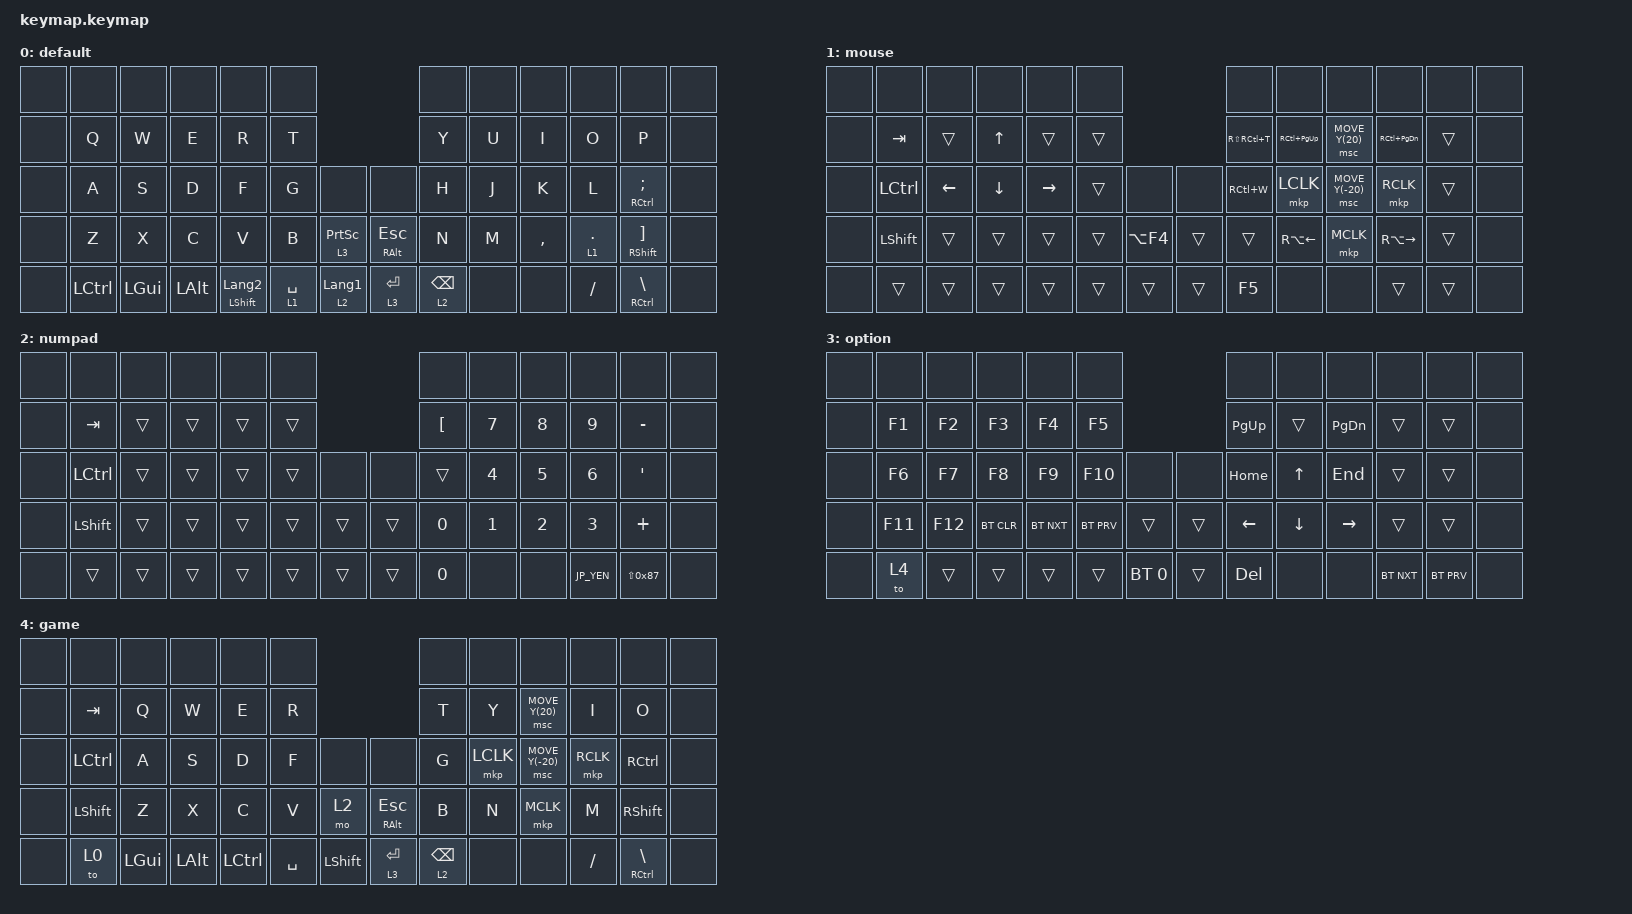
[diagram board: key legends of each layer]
#include <behaviors.dtsi>
#include <dt-bindings/zmk/bt.h>
#include <dt-bindings/zmk/keys.h>
#include <dt-bindings/zmk/outputs.h>
#include <dt-bindings/zmk/pointing.h>

// OS設定を日本語キーボードのまま使用するための変換定義

#define JP_DQUOTE       AT                // "
#define JP_AMPERSAND    CARET             // &
#define JP_QUOTE        AMPERSAND         // '
#define JP_EQUAL        UNDER             // =
#define JP_CARET        EQUAL             // ^
#define JP_YEN          0x89              // ¥
#define JP_PLUS         COLON             // +
#define JP_TILDE        PLUS              // ~
#define JP_PIPE         LS(0x89)          // |
#define JP_AT           LEFT_BRACKET      // @
#define JP_COLON        SINGLE_QUOTE      // :
#define JP_ASTERISK     DOUBLE_QUOTES     // *
#define JP_BACKQUOTE    LEFT_BRACE        // `
#define JP_UNDERSCORE   LS(0x87)          // _
#define JP_LBRACKET     RIGHT_BRACKET     // [
#define JP_RBRACKET     BACKSLASH         // ]
#define JP_LPAREN       ASTERISK          // (
#define JP_RPAREN       LEFT_PARENTHESIS  // )
#define JP_LBRACE       RIGHT_BRACE       // {
#define JP_RBRACE       PIPE              // }
#define JP_KANA         LANGUAGE_1        // かな
#define JP_EISU         LANGUAGE_2        // 英数
#define JP_HANZEN       GRAVE             // 半角/全角

/ {
    combos {
        compatible = "zmk,combos";

        bt_clear {
            bindings = <&bt BT_CLR>;
            key-positions = <28 29>;
            layers = <3>;
        };
    };

    macros {
        windowClose: windowClose {
            compatible = "zmk,behavior-macro";
            #binding-cells = <0>;
            bindings = <&sk LEFT_ALT &kp F4>, <&macro_press>;

            label = "WINDOWCLOSE";
        };
    };

    keymap {
        compatible = "zmk,keymap";

        default {
            bindings = <
&none  &none             &none     &none     &none                      &none                                              &none            &none  &none      &none         &none                        &none
&none  &kp Q             &kp W     &kp E     &kp R                      &kp T                                              &kp Y            &kp U  &kp I      &kp O         &kp P                        &none
&none  &kp A             &kp S     &kp D     &kp F                      &kp G        &none               &none             &kp H            &kp J  &kp K      &kp L         &mt RIGHT_CONTROL SEMICOLON  &none
&none  &kp Z             &kp X     &kp C     &kp V                      &kp B        &lt 3 PRINTSCREEN   &mt RALT ESCAPE   &kp N            &kp M  &kp COMMA  &lt 1 PERIOD  &mt RIGHT_SHIFT JP_LBRACKET  &none
&none  &kp LEFT_CONTROL  &kp LGUI  &kp LALT  &mt LEFT_SHIFT LANGUAGE_2  &lt 1 SPACE  &lt 2 LANGUAGE_1    &lt 3 ENTER       &lt 2 BACKSPACE  &none  &none      &kp SLASH     &mt RCTRL JP_RBRACKET        &none
            >;
        };

        mouse {
            bindings = <
&none  &none             &none     &none     &none      &none                       &none          &none            &none             &none              &none   &none
&none  &kp TAB           &trans    &kp UP    &trans     &trans                      &kp RS(RC(T))  &kp RC(PAGE_UP)  &msc MOVE_Y(20)   &kp RC(PAGE_DOWN)  &trans  &none
&none  &kp LEFT_CONTROL  &kp LEFT  &kp DOWN  &kp RIGHT  &trans  &none       &none   &kp RC(W)      &mkp LCLK        &msc MOVE_Y(-20)  &mkp RCLK          &trans  &none
&none  &kp LEFT_SHIFT    &trans    &trans    &trans     &trans  &kp LA(F4)  &trans  &trans         &kp RA(LEFT)     &mkp MCLK         &kp RA(RIGHT)      &trans  &none
&none  &trans            &trans    &trans    &trans     &trans  &trans      &trans  &kp F5         &none            &none             &trans             &trans  &none
            >;
        };

        numpad {
            bindings = <
&none  &none             &none   &none   &none   &none                   &none             &none   &none   &none       &none              &none
&none  &kp TAB           &trans  &trans  &trans  &trans                  &kp LEFT_BRACKET  &kp N7  &kp N8  &kp N9      &kp MINUS          &none
&none  &kp LEFT_CONTROL  &trans  &trans  &trans  &trans  &none   &none   &trans            &kp N4  &kp N5  &kp N6      &kp JP_COLON       &none
&none  &kp LEFT_SHIFT    &trans  &trans  &trans  &trans  &trans  &trans  &kp N0            &kp N1  &kp N2  &kp N3      &kp JP_TILDE       &none
&none  &trans            &trans  &trans  &trans  &trans  &trans  &trans  &kp N0            &none   &none   &kp JP_YEN  &kp JP_UNDERSCORE  &none
            >;
        };

        option {
            bindings = <
&none  &none       &none    &none         &none       &none                             &none       &none     &none          &none       &none       &none
&none  &kp F1      &kp F2   &kp F3        &kp F4      &kp F5                            &kp PG_UP   &trans    &kp PAGE_DOWN  &trans      &trans      &none
&none  &kp F6      &kp F7   &kp F8        &kp F9      &kp F10     &none         &none   &kp HOME    &kp UP    &kp END        &trans      &trans      &none
&none  &kp F11     &kp F12  &bt BT_CLR    &bt BT_NXT  &bt BT_PRV  &trans        &trans  &kp LEFT    &kp DOWN  &kp RIGHT      &trans      &trans      &none
&none  &to 4       &trans   &trans        &trans      &trans      &bt BT_SEL 0  &trans  &kp DELETE  &none     &none          &bt BT_NXT  &bt BT_PRV  &none
            >;
        };

        game {
            bindings = <
&none  &none             &none     &none     &none                      &none                                              &none            &none      &none              &none         &none                   &none
&none  &kp TAB           &kp Q     &kp W     &kp E                      &kp R                                              &kp T            &kp Y      &msc MOVE_Y(20)    &kp I         &kp O                   &none
&none  &kp LEFT_CONTROL  &kp A     &kp S     &kp D                      &kp F        &none               &none             &kp G            &mkp LCLK  &msc MOVE_Y(-20)   &mkp RCLK     &kp RIGHT_CONTROL       &none
&none  &kp LEFT_SHIFT    &kp Z     &kp X     &kp C                      &kp V        &mo 2               &mt RALT ESCAPE   &kp B            &kp N      &mkp MCLK          &kp M         &kp RIGHT_SHIFT         &none
&none  &to 0             &kp LGUI  &kp LALT  &kp LEFT_CONTROL           &kp SPACE    &kp LEFT_SHIFT      &lt 3 ENTER       &lt 2 BACKSPACE  &none      &none              &kp SLASH     &mt RCTRL JP_RBRACKET   &none
            >;
        };
    };
};
